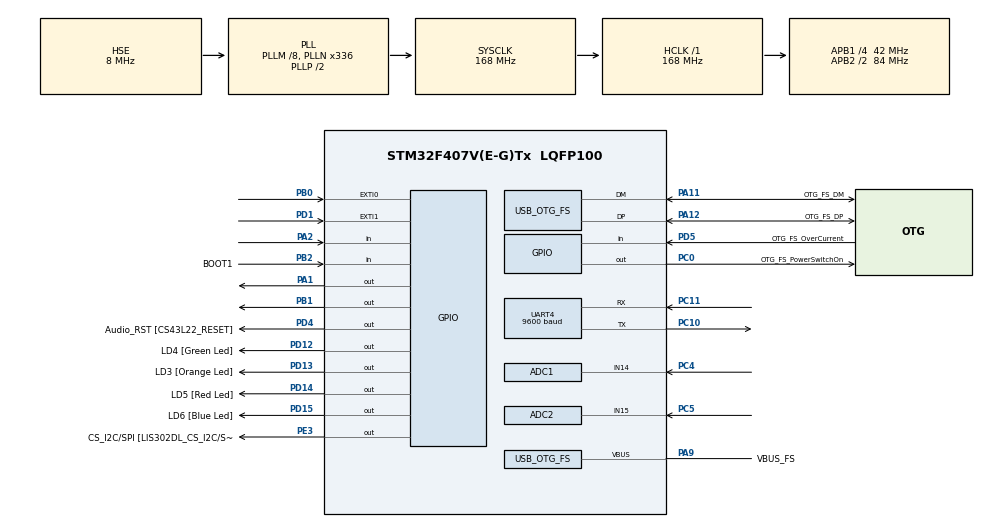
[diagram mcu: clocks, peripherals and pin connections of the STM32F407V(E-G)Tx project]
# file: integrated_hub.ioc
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ADC1.Channel-0\#ChannelRegularConversion=ADC_CHANNEL_14
ADC1.NbrOfConversionFlag=1
ADC1.Rank-0\#ChannelRegularConversion=1
ADC1.SamplingTime-0\#ChannelRegularConversion=ADC_SAMPLETIME_3CYCLES
ADC1.master=1
ADC2.Channel-0\#ChannelRegularConversion=ADC_CHANNEL_15
ADC2.NbrOfConversionFlag=1
ADC2.Rank-0\#ChannelRegularConversion=1
ADC2.SamplingTime-0\#ChannelRegularConversion=ADC_SAMPLETIME_3CYCLES
Mcu.Family=STM32F4
Mcu.Name=STM32F407V(E-G)Tx
Mcu.Package=LQFP100
NVIC.ADC_IRQn=true\:0\:0\:false\:false\:true\:true\:true
NVIC.EXTI0_IRQn=true\:0\:0\:false\:false\:true\:true\:true
NVIC.EXTI1_IRQn=true\:0\:0\:false\:false\:true\:true\:true
NVIC.OTG_FS_IRQn=true\:0\:0\:false\:false\:true\:true\:true
NVIC.PriorityGroup=NVIC_PRIORITYGROUP_0
NVIC.TIM2_IRQn=true\:0\:0\:false\:false\:true\:true\:true
NVIC.TIM3_IRQn=true\:0\:0\:false\:false\:true\:true\:true
PA1.Signal=GPIO_Output
PA10.GPIO_Label=OTG_FS_ID
PA10.GPIO_Mode=GPIO_MODE_AF_PP
PA10.GPIO_PuPd=GPIO_NOPULL
PA10.GPIO_Speed=GPIO_SPEED_FREQ_LOW
PA10.Signal=USB_OTG_FS_ID
PA11.GPIO_Label=OTG_FS_DM
PA11.GPIO_Mode=GPIO_MODE_AF_PP
PA11.GPIO_PuPd=GPIO_NOPULL
PA11.GPIO_Speed=GPIO_SPEED_FREQ_LOW
PA11.Mode=Host_Only
PA11.Signal=USB_OTG_FS_DM
PA12.GPIO_Label=OTG_FS_DP
PA12.GPIO_Mode=GPIO_MODE_AF_PP
PA12.GPIO_PuPd=GPIO_NOPULL
PA12.GPIO_Speed=GPIO_SPEED_FREQ_LOW
PA12.Mode=Host_Only
PA12.Signal=USB_OTG_FS_DP
PA13.GPIO_Label=SWDIO
PA13.Mode=Serial_Wire
PA13.Signal=SYS_JTMS-SWDIO
PA14.GPIO_Label=SWCLK
PA14.Mode=Serial_Wire
PA14.Signal=SYS_JTCK-SWCLK
PA2.Signal=GPIO_Input
PA9.GPIO_Label=VBUS_FS
PA9.GPIO_Mode=GPIO_MODE_INPUT
PA9.GPIO_PuPd=GPIO_NOPULL
PA9.Mode=Activate_VBUS
PA9.Signal=USB_OTG_FS_VBUS
PB0.Signal=GPXTI0
PB1.Signal=GPIO_Output
PB2.GPIO_Label=BOOT1
PB2.GPIO_Mode=GPIO_MODE_INPUT
PB2.GPIO_PuPd=GPIO_NOPULL
PB2.Signal=GPIO_Input
PB3.GPIO_Label=SWO
PB3.Signal=SYS_JTDO-SWO
PC0.GPIO_Label=OTG_FS_PowerSwitchOn
PC0.GPIO_PuPd=GPIO_NOPULL
PC0.GPIO_Speed=GPIO_SPEED_FREQ_LOW
PC0.PinState=GPIO_PIN_SET
PC0.Signal=GPIO_Output
PC10.Mode=Asynchronous
PC10.Signal=UART4_TX
PC11.Mode=Asynchronous
PC11.Signal=UART4_RX
PC14-OSC32_IN.GPIO_Label=PC14-OSC32_IN
PC14-OSC32_IN.Mode=LSE-External-Oscillator
PC14-OSC32_IN.Signal=RCC_OSC32_IN
PC15-OSC32_OUT.GPIO_Label=PC15-OSC32_OUT
PC15-OSC32_OUT.Mode=LSE-External-Oscillator
PC15-OSC32_OUT.Signal=RCC_OSC32_OUT
PC4.Signal=SharedAnalog_PC4
PC5.Signal=SharedAnalog_PC5
PD1.Signal=GPXTI1
PD12.GPIO_Label=LD4 [Green Led]
PD12.GPIO_PuPd=GPIO_NOPULL
PD12.GPIO_Speed=GPIO_SPEED_FREQ_LOW
PD12.Signal=GPIO_Output
PD13.GPIO_Label=LD3 [Orange Led]
PD13.GPIO_PuPd=GPIO_NOPULL
PD13.GPIO_Speed=GPIO_SPEED_FREQ_LOW
PD13.Signal=GPIO_Output
PD14.GPIO_Label=LD5 [Red Led]
PD14.GPIO_PuPd=GPIO_NOPULL
PD14.GPIO_Speed=GPIO_SPEED_FREQ_LOW
PD14.Signal=GPIO_Output
PD15.GPIO_Label=LD6 [Blue Led]
PD15.GPIO_PuPd=GPIO_NOPULL
PD15.GPIO_Speed=GPIO_SPEED_FREQ_LOW
PD15.Signal=GPIO_Output
PD4.GPIO_Label=Audio_RST [CS43L22_RESET]
PD4.GPIO_PuPd=GPIO_NOPULL
PD4.GPIO_Speed=GPIO_SPEED_FREQ_LOW
PD4.Signal=GPIO_Output
PD5.GPIO_Label=OTG_FS_OverCurrent
PD5.GPIO_Mode=GPIO_MODE_INPUT
PD5.GPIO_PuPd=GPIO_NOPULL
PD5.Signal=GPIO_Input
PE3.GPIO_Label=CS_I2C/SPI [LIS302DL_CS_I2C/SPI]
PE3.GPIO_PuPd=GPIO_NOPULL
PE3.GPIO_Speed=GPIO_SPEED_FREQ_LOW
PE3.Signal=GPIO_Output
PH0-OSC_IN.GPIO_Label=PH0-OSC_IN
PH0-OSC_IN.Mode=HSE-External-Oscillator
PH0-OSC_IN.Signal=RCC_OSC_IN
PH1-OSC_OUT.GPIO_Label=PH1-OSC_OUT
PH1-OSC_OUT.Mode=HSE-External-Oscillator
PH1-OSC_OUT.Signal=RCC_OSC_OUT
ProjectManager.HeapSize=0x200
ProjectManager.StackSize=0x400
ProjectManager.TargetToolchain=Makefile
RCC.48MHZClocksFreq_Value=48000000
RCC.AHBFreq_Value=168000000
RCC.APB1CLKDivider=RCC_HCLK_DIV4
RCC.APB1Freq_Value=42000000
RCC.APB1TimFreq_Value=84000000
RCC.APB2CLKDivider=RCC_HCLK_DIV2
RCC.APB2Freq_Value=84000000
RCC.APB2TimFreq_Value=168000000
RCC.CortexFreq_Value=168000000
RCC.HCLKFreq_Value=168000000
RCC.HSE_VALUE=8000000
RCC.HSI_VALUE=16000000
RCC.PLLM=8
RCC.PLLN=336
RCC.PLLQ=7
RCC.SYSCLKFreq_VALUE=168000000
RCC.SYSCLKSource=RCC_SYSCLKSOURCE_PLLCLK
RCC.VCOOutputFreq_Value=336000000
SH.SharedAnalog_PC4.0=GPIO_Analog
SH.SharedAnalog_PC4.1=ADC1_IN14,IN14
SH.SharedAnalog_PC5.0=GPIO_Analog
SH.SharedAnalog_PC5.1=ADC2_IN15,IN15
TIM2.AutoReloadPreload=TIM_AUTORELOAD_PRELOAD_ENABLE
TIM2.Period=4000-1
TIM2.Prescaler=42000-1
TIM3.AutoReloadPreload=TIM_AUTORELOAD_PRELOAD_ENABLE
TIM3.Period=2000-1
TIM3.Prescaler=42000-1
UART4.BaudRate=9600
UART4.VirtualMode=Asynchronous
USB_HOST.BSP.number=1
USB_HOST.USBH_HandleTypeDef-CDC_FS=hUsbHostFS
USB_HOST.VirtualModeFS=Cdc
USB_HOST0.BSP.STBoard=false
USB_HOST0.BSP.api=Unknown
USB_HOST0.BSP.i2caddr=0
USB_HOST0.BSP.i2creg=0
USB_HOST0.BSP.instance=PC0
USB_HOST0.BSP.ip=GPIO
USB_HOST0.BSP.mode=Output
USB_HOST0.BSP.name=Drive_VBUS_FS
USB_HOST0.BSP.solution=PC0
USB_OTG_FS.VirtualMode=Host_Only
USB_OTG_FS.phy_itface=HCD_PHY_EMBEDDED
VP_RTC_VS_RTC_Activate.Mode=RTC_Enabled
VP_TIM2_VS_ClockSourceINT.Mode=Internal
VP_TIM3_VS_ClockSourceINT.Mode=Internal
VP_USB_HOST_VS_USB_HOST_CDC_FS.Mode=CDC_FS
board=STM32F407G-DISC1

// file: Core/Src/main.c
/* USER CODE BEGIN Header */
/**
  ******************************************************************************
  * @file           : main.c
  * @brief          : Main program body
  * @authors	    : Morgan McCandless, Rouen De La O
  ******************************************************************************
  * @attention
  *
  * <h2><center>&copy; Copyright (c) 2021 STMicroelectronics.
  * All rights reserved.</center></h2>
  *
  * This software component is licensed by ST under Ultimate Liberty license
  * SLA0044, the "License"; You may not use this file except in compliance with
  * the License. You may obtain a copy of the License at:
  *                             www.st.com/SLA0044
  *
  ******************************************************************************
  */
/* USER CODE END Header */
#include "main.h"
#include "usb_host.h"

/* USER CODE BEGIN Includes */
#include <stdio.h>
#include <string.h>

/* USER CODE END Includes */

ADC_HandleTypeDef hadc1;
ADC_HandleTypeDef hadc2;

RTC_HandleTypeDef hrtc;

TIM_HandleTypeDef htim2;
TIM_HandleTypeDef htim3;

UART_HandleTypeDef huart4;

/* USER CODE BEGIN PV */
uint16_t audio;
float audio_volts;
uint16_t envelope;
float envelope_volts;
uint8_t audio_array[50];
uint8_t envelope_array[50];

/* USER CODE END PV */

void SystemClock_Config(void);
static void MX_GPIO_Init(void);
static void MX_ADC1_Init(void);
static void MX_ADC2_Init(void);
static void MX_RTC_Init(void);
static void MX_TIM2_Init(void);
static void MX_UART4_Init(void);
static void MX_TIM3_Init(void);
void MX_USB_HOST_Process(void);

int main(void)
{

  /* MCU Configuration--------------------------------------------------------*/

  /* Reset of all peripherals, Initializes the Flash interface and the Systick. */
  HAL_Init();

  /* Configure the system clock */
  SystemClock_Config();

  /* Initialize all configured peripherals */
  MX_GPIO_Init();
  MX_ADC1_Init();
  MX_ADC2_Init();
  MX_RTC_Init();
  MX_USB_HOST_Init();
  MX_TIM2_Init();
  MX_UART4_Init();
  MX_TIM3_Init();
  /* USER CODE BEGIN 2 */
  int released = 0;
  HAL_TIM_Base_Start_IT(&htim3);

  /* USER CODE END 2 */

  /* Infinite loop */
  while (1)
  {
    MX_USB_HOST_Process();

    /* USER CODE BEGIN 3 */
    // Door sensor
    if (!HAL_GPIO_ReadPin(GPIOA, GPIO_PIN_2) && !released) {
	    released = 1;
	    HAL_TIM_Base_Start_IT(&htim2);
    } else if (HAL_GPIO_ReadPin(GPIOA, GPIO_PIN_2) && released) {
	    HAL_TIM_Base_Stop_IT(&htim2);
	    TIM2->CNT = 0;
	    released = 0;
	    HAL_GPIO_WritePin(GPIOA, GPIO_PIN_1, GPIO_PIN_RESET);
    }

    // Sound Sensor
    if(!HAL_GPIO_ReadPin(GPIOB, GPIO_PIN_0)) {
	    HAL_GPIO_WritePin(GPIOB, GPIO_PIN_1, GPIO_PIN_RESET);
    }
    sprintf(envelope_array, "%d", envelope);

  }
  /* USER CODE END 3 */
}

void SystemClock_Config(void)
{
  RCC_OscInitTypeDef RCC_OscInitStruct = {0};
  RCC_ClkInitTypeDef RCC_ClkInitStruct = {0};
  RCC_PeriphCLKInitTypeDef PeriphClkInitStruct = {0};

  /** Configure the main internal regulator output voltage
  */
  __HAL_RCC_PWR_CLK_ENABLE();
  __HAL_PWR_VOLTAGESCALING_CONFIG(PWR_REGULATOR_VOLTAGE_SCALE1);
  /** Initializes the RCC Oscillators according to the specified parameters
  * in the RCC_OscInitTypeDef structure.
  */
  RCC_OscInitStruct.OscillatorType = RCC_OSCILLATORTYPE_LSI|RCC_OSCILLATORTYPE_HSE;
  RCC_OscInitStruct.HSEState = RCC_HSE_ON;
  RCC_OscInitStruct.LSIState = RCC_LSI_ON;
  RCC_OscInitStruct.PLL.PLLState = RCC_PLL_ON;
  RCC_OscInitStruct.PLL.PLLSource = RCC_PLLSOURCE_HSE;
  RCC_OscInitStruct.PLL.PLLM = 8;
  RCC_OscInitStruct.PLL.PLLN = 336;
  RCC_OscInitStruct.PLL.PLLP = RCC_PLLP_DIV2;
  RCC_OscInitStruct.PLL.PLLQ = 7;
  if (HAL_RCC_OscConfig(&RCC_OscInitStruct) != HAL_OK)
  {
    Error_Handler();
  }
  /** Initializes the CPU, AHB and APB buses clocks
  */
  RCC_ClkInitStruct.ClockType = RCC_CLOCKTYPE_HCLK|RCC_CLOCKTYPE_SYSCLK
                              |RCC_CLOCKTYPE_PCLK1|RCC_CLOCKTYPE_PCLK2;
  RCC_ClkInitStruct.SYSCLKSource = RCC_SYSCLKSOURCE_PLLCLK;
  RCC_ClkInitStruct.AHBCLKDivider = RCC_SYSCLK_DIV1;
  RCC_ClkInitStruct.APB1CLKDivider = RCC_HCLK_DIV4;
  RCC_ClkInitStruct.APB2CLKDivider = RCC_HCLK_DIV2;

  if (HAL_RCC_ClockConfig(&RCC_ClkInitStruct, FLASH_LATENCY_5) != HAL_OK)
  {
    Error_Handler();
  }
  PeriphClkInitStruct.PeriphClockSelection = RCC_PERIPHCLK_RTC;
  PeriphClkInitStruct.RTCClockSelection = RCC_RTCCLKSOURCE_LSI;
  if (HAL_RCCEx_PeriphCLKConfig(&PeriphClkInitStruct) != HAL_OK)
  {
    Error_Handler();
  }
}

static void MX_ADC1_Init(void)
{

  ADC_ChannelConfTypeDef sConfig = {0};

  /** Configure the global features of the ADC (Clock, Resolution, Data Alignment and number of conversion)
  */
  hadc1.Instance = ADC1;
  hadc1.Init.ClockPrescaler = ADC_CLOCK_SYNC_PCLK_DIV4;
  hadc1.Init.Resolution = ADC_RESOLUTION_12B;
  hadc1.Init.ScanConvMode = DISABLE;
  hadc1.Init.ContinuousConvMode = DISABLE;
  hadc1.Init.DiscontinuousConvMode = DISABLE;
  hadc1.Init.ExternalTrigConvEdge = ADC_EXTERNALTRIGCONVEDGE_NONE;
  hadc1.Init.ExternalTrigConv = ADC_SOFTWARE_START;
  hadc1.Init.DataAlign = ADC_DATAALIGN_RIGHT;
  hadc1.Init.NbrOfConversion = 1;
  hadc1.Init.DMAContinuousRequests = DISABLE;
  hadc1.Init.EOCSelection = ADC_EOC_SINGLE_CONV;
  if (HAL_ADC_Init(&hadc1) != HAL_OK)
  {
    Error_Handler();
  }
  /** Configure for the selected ADC regular channel its corresponding rank in the sequencer and its sample time.
  */
  sConfig.Channel = ADC_CHANNEL_14;
  sConfig.Rank = 1;
  sConfig.SamplingTime = ADC_SAMPLETIME_3CYCLES;
  if (HAL_ADC_ConfigChannel(&hadc1, &sConfig) != HAL_OK)
  {
    Error_Handler();
  }

}

static void MX_ADC2_Init(void)
{

  ADC_ChannelConfTypeDef sConfig = {0};

  /** Configure the global features of the ADC (Clock, Resolution, Data Alignment and number of conversion)
  */
  hadc2.Instance = ADC2;
  hadc2.Init.ClockPrescaler = ADC_CLOCK_SYNC_PCLK_DIV4;
  hadc2.Init.Resolution = ADC_RESOLUTION_12B;
  hadc2.Init.ScanConvMode = DISABLE;
  hadc2.Init.ContinuousConvMode = DISABLE;
  hadc2.Init.DiscontinuousConvMode = DISABLE;
  hadc2.Init.ExternalTrigConvEdge = ADC_EXTERNALTRIGCONVEDGE_NONE;
  hadc2.Init.ExternalTrigConv = ADC_SOFTWARE_START;
  hadc2.Init.DataAlign = ADC_DATAALIGN_RIGHT;
  hadc2.Init.NbrOfConversion = 1;
  hadc2.Init.DMAContinuousRequests = DISABLE;
  hadc2.Init.EOCSelection = ADC_EOC_SINGLE_CONV;
  if (HAL_ADC_Init(&hadc2) != HAL_OK)
  {
    Error_Handler();
  }
  /** Configure for the selected ADC regular channel its corresponding rank in the sequencer and its sample time.
  */
  sConfig.Channel = ADC_CHANNEL_15;
  sConfig.Rank = 1;
  sConfig.SamplingTime = ADC_SAMPLETIME_3CYCLES;
  if (HAL_ADC_ConfigChannel(&hadc2, &sConfig) != HAL_OK)
  {
    Error_Handler();
  }

}

static void MX_RTC_Init(void)
{

  /** Initialize RTC Only
  */
  hrtc.Instance = RTC;
  hrtc.Init.HourFormat = RTC_HOURFORMAT_24;
  hrtc.Init.AsynchPrediv = 127;
  hrtc.Init.SynchPrediv = 255;
  hrtc.Init.OutPut = RTC_OUTPUT_DISABLE;
  hrtc.Init.OutPutPolarity = RTC_OUTPUT_POLARITY_HIGH;
  hrtc.Init.OutPutType = RTC_OUTPUT_TYPE_OPENDRAIN;
  if (HAL_RTC_Init(&hrtc) != HAL_OK)
  {
    Error_Handler();
  }

}

static void MX_TIM2_Init(void)
{

  TIM_ClockConfigTypeDef sClockSourceConfig = {0};
  TIM_MasterConfigTypeDef sMasterConfig = {0};

  htim2.Instance = TIM2;
  htim2.Init.Prescaler = 42000-1;
  htim2.Init.CounterMode = TIM_COUNTERMODE_UP;
  htim2.Init.Period = 4000-1;
  htim2.Init.ClockDivision = TIM_CLOCKDIVISION_DIV1;
  htim2.Init.AutoReloadPreload = TIM_AUTORELOAD_PRELOAD_ENABLE;
  if (HAL_TIM_Base_Init(&htim2) != HAL_OK)
  {
    Error_Handler();
  }
  sClockSourceConfig.ClockSource = TIM_CLOCKSOURCE_INTERNAL;
  if (HAL_TIM_ConfigClockSource(&htim2, &sClockSourceConfig) != HAL_OK)
  {
    Error_Handler();
  }
  sMasterConfig.MasterOutputTrigger = TIM_TRGO_RESET;
  sMasterConfig.MasterSlaveMode = TIM_MASTERSLAVEMODE_DISABLE;
  if (HAL_TIMEx_MasterConfigSynchronization(&htim2, &sMasterConfig) != HAL_OK)
  {
    Error_Handler();
  }

}

static void MX_TIM3_Init(void)
{

  TIM_ClockConfigTypeDef sClockSourceConfig = {0};
  TIM_MasterConfigTypeDef sMasterConfig = {0};

  htim3.Instance = TIM3;
  htim3.Init.Prescaler = 42000-1;
  htim3.Init.CounterMode = TIM_COUNTERMODE_UP;
  htim3.Init.Period = 2000-1;
  htim3.Init.ClockDivision = TIM_CLOCKDIVISION_DIV1;
  htim3.Init.AutoReloadPreload = TIM_AUTORELOAD_PRELOAD_ENABLE;
  if (HAL_TIM_Base_Init(&htim3) != HAL_OK)
  {
    Error_Handler();
  }
  sClockSourceConfig.ClockSource = TIM_CLOCKSOURCE_INTERNAL;
  if (HAL_TIM_ConfigClockSource(&htim3, &sClockSourceConfig) != HAL_OK)
  {
    Error_Handler();
  }
  sMasterConfig.MasterOutputTrigger = TIM_TRGO_RESET;
  sMasterConfig.MasterSlaveMode = TIM_MASTERSLAVEMODE_DISABLE;
  if (HAL_TIMEx_MasterConfigSynchronization(&htim3, &sMasterConfig) != HAL_OK)
  {
    Error_Handler();
  }

}

static void MX_UART4_Init(void)
{

  huart4.Instance = UART4;
  huart4.Init.BaudRate = 9600;
  huart4.Init.WordLength = UART_WORDLENGTH_8B;
  huart4.Init.StopBits = UART_STOPBITS_1;
  huart4.Init.Parity = UART_PARITY_NONE;
  huart4.Init.Mode = UART_MODE_TX_RX;
  huart4.Init.HwFlowCtl = UART_HWCONTROL_NONE;
  huart4.Init.OverSampling = UART_OVERSAMPLING_16;
  if (HAL_UART_Init(&huart4) != HAL_OK)
  {
    Error_Handler();
  }

}

static void MX_GPIO_Init(void)
{
  GPIO_InitTypeDef GPIO_InitStruct = {0};

  /* GPIO Ports Clock Enable */
  __HAL_RCC_GPIOE_CLK_ENABLE();
  __HAL_RCC_GPIOC_CLK_ENABLE();
  __HAL_RCC_GPIOH_CLK_ENABLE();
  __HAL_RCC_GPIOA_CLK_ENABLE();
  __HAL_RCC_GPIOB_CLK_ENABLE();
  __HAL_RCC_GPIOD_CLK_ENABLE();

  /*Configure GPIO pin Output Level */
  HAL_GPIO_WritePin(CS_I2C_SPI_GPIO_Port, CS_I2C_SPI_Pin, GPIO_PIN_RESET);

  /*Configure GPIO pin Output Level */
  HAL_GPIO_WritePin(OTG_FS_PowerSwitchOn_GPIO_Port, OTG_FS_PowerSwitchOn_Pin, GPIO_PIN_SET);

  /*Configure GPIO pin Output Level */
  HAL_GPIO_WritePin(GPIOA, GPIO_PIN_1, GPIO_PIN_RESET);

  /*Configure GPIO pin Output Level */
  HAL_GPIO_WritePin(GPIOB, GPIO_PIN_1, GPIO_PIN_RESET);

  /*Configure GPIO pin Output Level */
  HAL_GPIO_WritePin(GPIOD, LD4_Pin|LD3_Pin|LD5_Pin|LD6_Pin
                          |Audio_RST_Pin, GPIO_PIN_RESET);

  /*Configure GPIO pin : CS_I2C_SPI_Pin */
  GPIO_InitStruct.Pin = CS_I2C_SPI_Pin;
  GPIO_InitStruct.Mode = GPIO_MODE_OUTPUT_PP;
  GPIO_InitStruct.Pull = GPIO_NOPULL;
  GPIO_InitStruct.Speed = GPIO_SPEED_FREQ_LOW;
  HAL_GPIO_Init(CS_I2C_SPI_GPIO_Port, &GPIO_InitStruct);

  /*Configure GPIO pin : OTG_FS_PowerSwitchOn_Pin */
  GPIO_InitStruct.Pin = OTG_FS_PowerSwitchOn_Pin;
  GPIO_InitStruct.Mode = GPIO_MODE_OUTPUT_PP;
  GPIO_InitStruct.Pull = GPIO_NOPULL;
  GPIO_InitStruct.Speed = GPIO_SPEED_FREQ_LOW;
  HAL_GPIO_Init(OTG_FS_PowerSwitchOn_GPIO_Port, &GPIO_InitStruct);

  /*Configure GPIO pin : PA1 */
  GPIO_InitStruct.Pin = GPIO_PIN_1;
  GPIO_InitStruct.Mode = GPIO_MODE_OUTPUT_PP;
  GPIO_InitStruct.Pull = GPIO_NOPULL;
  GPIO_InitStruct.Speed = GPIO_SPEED_FREQ_LOW;
  HAL_GPIO_Init(GPIOA, &GPIO_InitStruct);

  /*Configure GPIO pin : PA2 */
  GPIO_InitStruct.Pin = GPIO_PIN_2;
  GPIO_InitStruct.Mode = GPIO_MODE_INPUT;
  GPIO_InitStruct.Pull = GPIO_NOPULL;
  HAL_GPIO_Init(GPIOA, &GPIO_InitStruct);

  /*Configure GPIO pin : PB0 */
  GPIO_InitStruct.Pin = GPIO_PIN_0;
  GPIO_InitStruct.Mode = GPIO_MODE_IT_RISING;
  GPIO_InitStruct.Pull = GPIO_NOPULL;
  HAL_GPIO_Init(GPIOB, &GPIO_InitStruct);

  /*Configure GPIO pin : PB1 */
  GPIO_InitStruct.Pin = GPIO_PIN_1;
  GPIO_InitStruct.Mode = GPIO_MODE_OUTPUT_PP;
  GPIO_InitStruct.Pull = GPIO_NOPULL;
  GPIO_InitStruct.Speed = GPIO_SPEED_FREQ_LOW;
  HAL_GPIO_Init(GPIOB, &GPIO_InitStruct);

  /*Configure GPIO pin : BOOT1_Pin */
  GPIO_InitStruct.Pin = BOOT1_Pin;
  GPIO_InitStruct.Mode = GPIO_MODE_INPUT;
  GPIO_InitStruct.Pull = GPIO_NOPULL;
  HAL_GPIO_Init(BOOT1_GPIO_Port, &GPIO_InitStruct);

  /*Configure GPIO pins : LD4_Pin LD3_Pin LD5_Pin LD6_Pin
                           Audio_RST_Pin */
  GPIO_InitStruct.Pin = LD4_Pin|LD3_Pin|LD5_Pin|LD6_Pin
                          |Audio_RST_Pin;
  GPIO_InitStruct.Mode = GPIO_MODE_OUTPUT_PP;
  GPIO_InitStruct.Pull = GPIO_NOPULL;
  GPIO_InitStruct.Speed = GPIO_SPEED_FREQ_LOW;
  HAL_GPIO_Init(GPIOD, &GPIO_InitStruct);

  /*Configure GPIO pin : PD1 */
  GPIO_InitStruct.Pin = GPIO_PIN_1;
  GPIO_InitStruct.Mode = GPIO_MODE_IT_RISING;
  GPIO_InitStruct.Pull = GPIO_NOPULL;
  HAL_GPIO_Init(GPIOD, &GPIO_InitStruct);

  /*Configure GPIO pin : OTG_FS_OverCurrent_Pin */
  GPIO_InitStruct.Pin = OTG_FS_OverCurrent_Pin;
  GPIO_InitStruct.Mode = GPIO_MODE_INPUT;
  GPIO_InitStruct.Pull = GPIO_NOPULL;
  HAL_GPIO_Init(OTG_FS_OverCurrent_GPIO_Port, &GPIO_InitStruct);

  /* EXTI interrupt init*/
  HAL_NVIC_SetPriority(EXTI0_IRQn, 0, 0);
  HAL_NVIC_EnableIRQ(EXTI0_IRQn);

  HAL_NVIC_SetPriority(EXTI1_IRQn, 0, 0);
  HAL_NVIC_EnableIRQ(EXTI1_IRQn);

}

void Error_Handler(void)
{
  __disable_irq();
  while (1)
  {
  }
}

/************************ (C) COPYRIGHT STMicroelectronics *****END OF FILE****/
